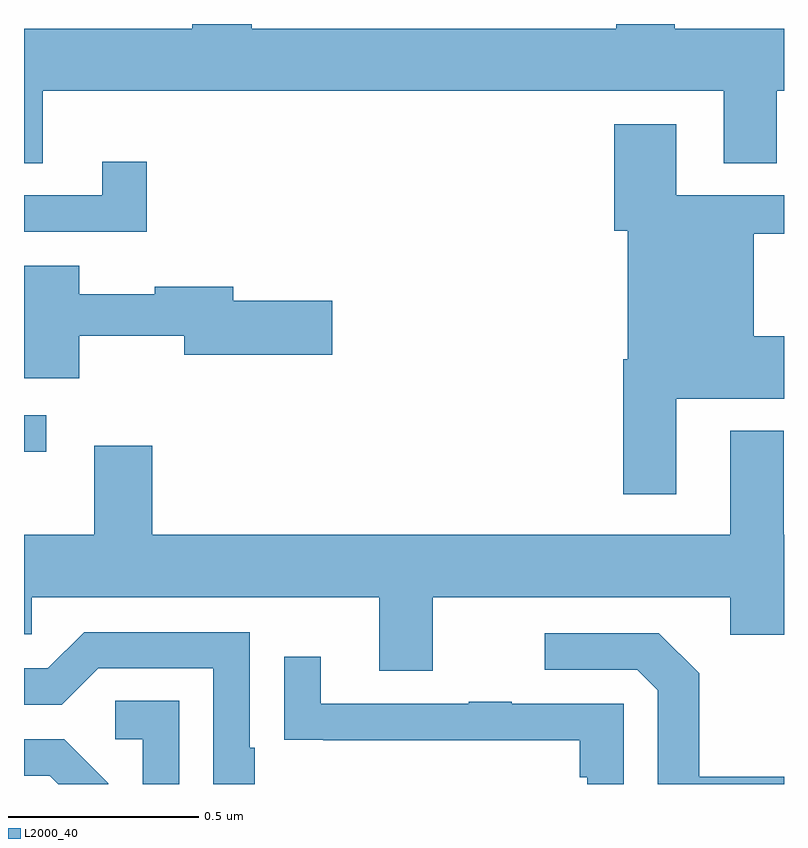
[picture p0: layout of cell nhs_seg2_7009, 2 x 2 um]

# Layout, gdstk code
import gdstk
lib = gdstk.Library(unit=1e-6, precision=1e-09)
def R(c, l, rs):  # rectangles x0, y0, x1, y1
    for r in rs: c.add(gdstk.rectangle(r[:2], r[2:], *l))
def P(c, l, *ps):  # polygons
    for p in ps: c.add(gdstk.Polygon(p, *l))
L2000_40 = (2000, 40)

nhs_seg2_7009 = lib.new_cell('nhs_seg2_7009')
R(nhs_seg2_7009, L2000_40, [(198,658.674,198.058,658.77)])
P(nhs_seg2_7009, L2000_40, [(198.049,659.624),(199.841,659.624),(199.841,659.434),(199.981,659.434),(199.981,659.624),(200,659.624),(200,659.788),(199.712,659.788),(199.712,659.8),(199.559,659.8),(199.559,659.788),(198.599,659.788),(198.599,659.8),(198.443,659.8),(198.443,659.788),(198,659.788),(198,659.434),(198.049,659.434)],
  [(199.717,658.814),(200,658.814),(200,658.978),(199.921,658.978),(199.921,659.248),(200,659.248),(200,659.349),(199.717,659.349),(199.717,659.536),(199.553,659.536),(199.553,659.256),(199.589,659.256),(199.589,658.918),(199.577,658.918),(199.577,658.563),(199.717,658.563)],
  [(198.323,659.437),(198.206,659.437),(198.206,659.349),(198,659.349),(198,659.253),(198.323,659.253)],
  [(198.145,658.98),(198.422,658.98),(198.422,658.93),(198.811,658.93),(198.811,659.072),(198.55,659.072),(198.55,659.108),(198.344,659.108),(198.344,659.089),(198.145,659.089),(198.145,659.164),(198,659.164),(198,658.868),(198.145,658.868)],
  [(199.075,658.292),(199.859,658.292),(199.859,658.193),(200,658.193),(200,658.456),(199.999,658.456),(199.999,658.729),(199.859,658.729),(199.859,658.456),(198.338,658.456),(198.338,658.69),(198.185,658.69),(198.185,658.456),(198,658.456),(198,658.194),(198.021,658.194),(198.021,658.292),(198.935,658.292),(198.935,658.098),(199.075,658.098)],
  [(198.607,657.895),(198.594,657.895),(198.594,658.2),(198.159,658.2),(198.063,658.104),(198,658.104),(198,658.008),(198.099,658.008),(198.195,658.104),(198.498,658.104),(198.498,657.8),(198.607,657.8)],
  [(200,657.819),(199.777,657.819),(199.777,658.091),(199.671,658.197),(199.371,658.197),(199.371,658.101),(199.614,658.101),(199.668,658.047),(199.668,657.8),(200,657.8)],
  [(199.578,658.011),(199.283,658.011),(199.283,658.016),(199.171,658.016),(199.171,658.011),(198.781,658.011),(198.781,658.135),(198.685,658.135),(198.685,657.916),(198.787,657.916),(198.787,657.915),(199.462,657.915),(199.462,657.818),(199.482,657.818),(199.482,657.8),(199.578,657.8)],
  [(198.408,658.019),(198.24,658.019),(198.24,657.918),(198.312,657.918),(198.312,657.8),(198.408,657.8)],
  [(198.222,657.802),(198.106,657.918),(198,657.918),(198,657.822),(198.068,657.822),(198.09,657.8),(198.222,657.8)])

lib.write_gds('nhs_seg2_7009.gds')
